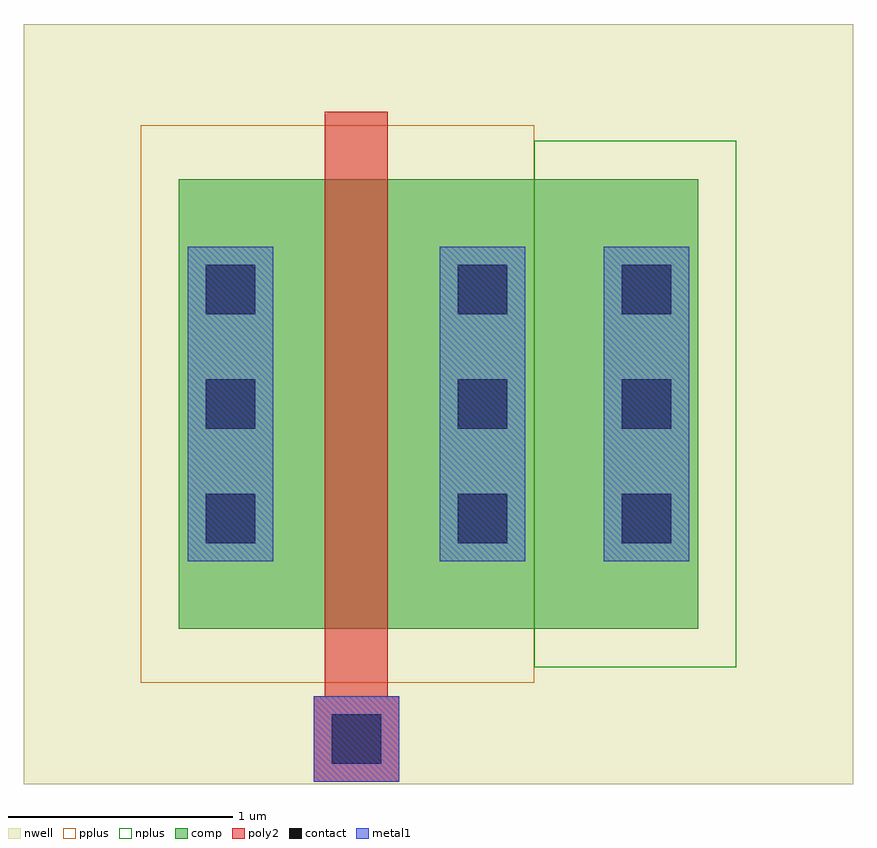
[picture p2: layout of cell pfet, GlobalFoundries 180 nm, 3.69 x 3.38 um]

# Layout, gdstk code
import gdstk
lib = gdstk.Library(unit=1e-6, precision=5e-09)
def R(c, l, rs):  # rectangles x0, y0, x1, y1
    for r in rs: c.add(gdstk.rectangle(r[:2], r[2:], *l))
def A(c, l, x, y, w, h, nx, ny, dx, dy):  # array of equal rectangles
    R(c, l, [(x+i*dx, y+j*dy, x+i*dx+w, y+j*dy+h) for i in range(nx) for j in range(ny)])
nwell = (21, 0)
comp = (22, 0)
poly2 = (30, 0)
pplus = (31, 0)
nplus = (32, 0)
contact = (33, 0)
metal1 = (34, 0)

pfet = lib.new_cell('pfet')
R(pfet, nwell, [(-1.15,-0.69,2.54,2.69)])
R(pfet, comp, [(-0.46,0,0,2), (0,0,0.66,2), (0.66,0,1.12,2), (1.12,0,1.85,2)])
R(pfet, poly2, [(0.14,-0.68,0.52,-0.3), (0.19,-0.3,0.47,2.3)])
R(pfet, pplus, [(-0.63,-0.24,1.12,2.24)])
R(pfet, nplus, [(1.12,-0.17,2.02,2.17)])
A(pfet, contact, -0.34, 0.38, 0.22, 0.22, 1, 3, 0, 0.51)
A(pfet, contact, 0.78, 0.38, 0.22, 0.22, 1, 3, 0, 0.51)
A(pfet, contact, 1.51, 0.38, 0.22, 0.22, 1, 3, 0, 0.51)
R(pfet, contact, [(0.22,-0.6,0.44,-0.38)])
R(pfet, metal1, [(0.14,-0.68,0.52,-0.3), (-0.42,0.3,-0.04,1.7), (0.7,0.3,1.08,1.7), (1.43,0.3,1.81,1.7)])

lib.write_gds('pfet.gds')
